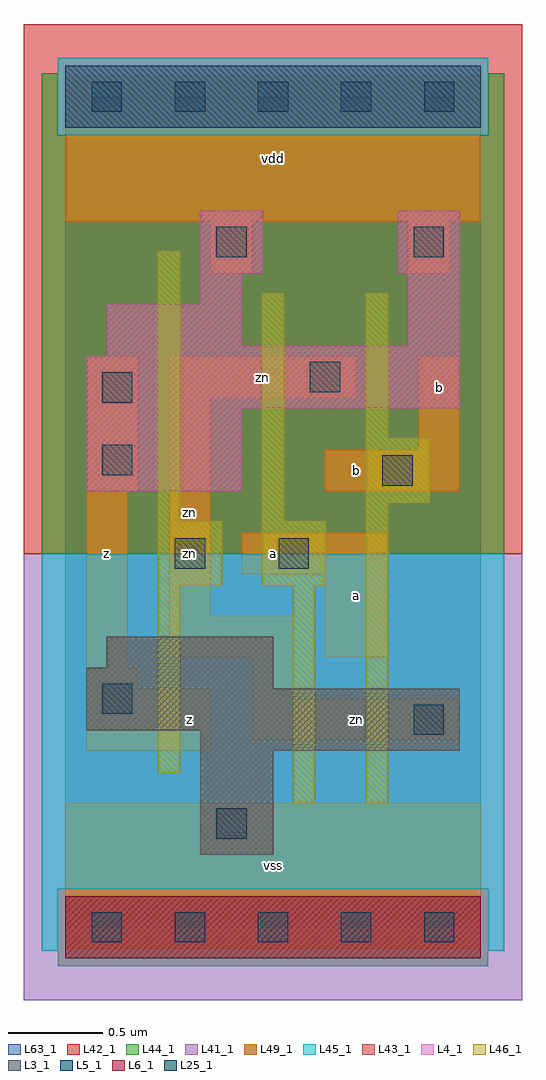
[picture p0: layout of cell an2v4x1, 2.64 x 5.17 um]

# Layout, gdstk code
import gdstk
lib = gdstk.Library(unit=1e-6, precision=1e-09)
def R(c, l, rs):  # rectangles x0, y0, x1, y1
    for r in rs: c.add(gdstk.rectangle(r[:2], r[2:], *l))
def A(c, l, x, y, w, h, nx, ny, dx, dy):  # array of equal rectangles
    R(c, l, [(x+i*dx, y+j*dy, x+i*dx+w, y+j*dy+h) for i in range(nx) for j in range(ny)])
L3_1 = (3, 1)
L4_1 = (4, 1)
L5_1 = (5, 1)
L6_1 = (6, 1)
L25_1 = (25, 1)
L41_1 = (41, 1)
L42_1 = (42, 1)
L43_1 = (43, 1)
L44_1 = (44, 1)
L45_1 = (45, 1)
L46_1 = (46, 1)
L49_1 = (49, 1)
L63_1 = (63, 1)

an2v4x1 = lib.new_cell('an2v4x1')
R(an2v4x1, L3_1, [(0.715,0.385,1.1,0.935), (0.715,0.935,2.09,1.045), (0.11,1.045,2.09,1.265), (0.11,1.265,1.1,1.375), (0.22,1.375,1.1,1.54)])
R(an2v4x1, L4_1, [(0.11,2.31,0.935,2.75), (0.11,2.75,2.09,3.025), (0.22,3.025,2.09,3.08), (0.22,3.08,0.935,3.3), (1.815,3.08,2.09,3.465), (0.715,3.3,0.935,3.465), (0.715,3.465,1.045,3.795), (1.76,3.465,2.09,3.795)])
R(an2v4x1, L5_1, [(0,4.235,2.2,4.565)])
R(an2v4x1, L6_1, [(0,-0.165,2.2,0.165)])
A(an2v4x1, L25_1, 0.14, -0.08, 0.16, 0.16, 5, 2, 0.44, 4.4)
R(an2v4x1, L25_1, [(0.8,0.47,0.96,0.63), (1.845,1.02,2.005,1.18), (0.195,1.13,0.355,1.29), (0.58,1.9,0.74,2.06), (1.13,1.9,1.29,2.06), (1.68,2.34,1.84,2.5), (0.195,2.395,0.355,2.555), (0.195,2.78,0.355,2.94), (1.295,2.835,1.455,2.995), (0.8,3.55,0.96,3.71), (1.845,3.55,2.005,3.71)])
R(an2v4x1, L41_1, [(-0.22,-0.385,2.42,1.98)])
R(an2v4x1, L42_1, [(-0.22,1.98,2.42,4.785)])
R(an2v4x1, L43_1, [(0,-0.165,2.2,0.165), (0.715,0.385,1.1,0.935), (0.715,0.935,2.09,1.045), (0.11,1.045,2.09,1.265), (0.11,1.265,1.1,1.375), (0.22,1.375,1.1,1.54), (0.11,2.31,0.935,2.75), (0.11,2.75,2.09,3.025), (0.22,3.025,2.09,3.08), (0.22,3.08,0.935,3.3), (1.815,3.08,2.09,3.465), (0.715,3.3,0.935,3.465), (0.715,3.465,1.045,3.795), (1.76,3.465,2.09,3.795), (0,4.235,2.2,4.565)])
R(an2v4x1, L44_1, [(-0.04,-0.205,2.24,0.205), (-0.125,1.98,2.325,4.195), (-0.125,4.195,-0.04,4.525), (2.24,4.195,2.325,4.525)])
R(an2v4x1, L45_1, [(-0.125,-0.125,-0.04,0.205), (2.24,-0.125,2.325,0.205), (-0.125,0.205,2.325,1.98), (-0.04,4.195,2.24,4.605)])
R(an2v4x1, L46_1, [(1.205,0.655,1.325,1.81), (1.59,0.655,1.71,2.25), (0.49,0.82,0.61,1.81), (0.49,1.81,0.83,2.15), (1.04,1.81,1.38,2.15), (0.49,2.15,0.61,3.58), (1.04,2.15,1.16,3.36), (1.59,2.25,1.93,2.59), (1.59,2.59,1.71,3.36)])
R(an2v4x1, L49_1, [(0,-0.11,2.2,0.66), (0.11,0.935,0.77,1.265), (0.99,0.99,2.09,1.21), (0.99,1.21,1.21,1.43), (0.11,1.265,0.385,1.375), (0.11,1.375,0.33,2.31), (0.55,1.43,1.21,1.65), (1.375,1.43,1.705,1.87), (0.55,1.65,0.77,2.805), (0.935,1.87,1.705,2.09), (0.11,2.31,0.385,3.025), (1.375,2.31,2.09,2.53), (1.87,2.53,2.09,3.025), (0.55,2.805,1.54,3.025), (0.77,3.465,0.99,3.74), (1.815,3.465,2.035,3.74), (0,3.74,2.2,4.51)])
R(an2v4x1, L63_1, [(0,0,2.2,4.4)])
an2v4x1.add(gdstk.Label('zn', (0.66,1.98), layer=49, texttype=1))
an2v4x1.add(gdstk.Label('z', (0.22,1.98), layer=49, texttype=1))
an2v4x1.add(gdstk.Label('z', (0.66,1.1), layer=49, texttype=1))
an2v4x1.add(gdstk.Label('zn', (0.66,2.2), layer=49, texttype=1))
an2v4x1.add(gdstk.Label('vss', (1.1,0.33), layer=49, texttype=1))
an2v4x1.add(gdstk.Label('a', (1.1,1.98), layer=49, texttype=1))
an2v4x1.add(gdstk.Label('a', (1.54,1.76), layer=49, texttype=1))
an2v4x1.add(gdstk.Label('b', (1.54,2.42), layer=49, texttype=1))
an2v4x1.add(gdstk.Label('zn', (1.045,2.915), layer=49, texttype=1))
an2v4x1.add(gdstk.Label('vdd', (1.1,4.07), layer=49, texttype=1))
an2v4x1.add(gdstk.Label('zn', (1.54,1.1), layer=49, texttype=1))
an2v4x1.add(gdstk.Label('b', (1.98,2.86), layer=49, texttype=1))

lib.write_gds('an2v4x1.gds')
